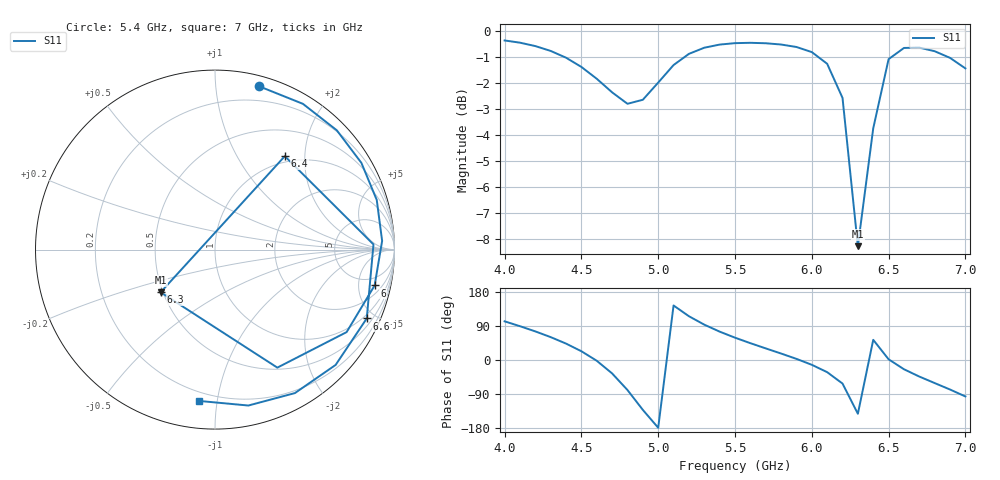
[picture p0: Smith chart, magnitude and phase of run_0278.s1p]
! Touchstone file exported from HFSS 2024.2.0
!  File:  C:/Users/wsak9/Desktop/Sim Fast/Widenad Patch/WP_AI_V1_sweep.aedt
!  Generated:  02:43:23 AM Oct 14, 2026
!  Design:  A1_model
!  Project:  WP_AI_V1_sweep
!  Setup:  Setup1
!  Solution:  Sweep
! Variables:
!  Air_gap = 3.87mm
!  Curve_Amp1 = 2.67
!  Curve_len1 = 1
!  Curve_pos = 9.675mm
!  Extra = 7.87mm
!  H_sub = 0.79mm
!  L_Patch = 15.35mm
!  L_Patch1 = 18.84mm
!  Sx = 3.94mm
!  Sy = 1.44mm
!  WS = 0.31mm
!  W_Patch = 10.32mm
!  W_Patch1 = 10.97mm
!Data is not renormalized
# GHz S MA
! Terminal data exported
! Port[1] = 1
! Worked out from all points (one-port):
!   31 points, 4 GHz to 7 GHz, reference per port
!   lowest |S11| = -8.3 dB at 6.3 GHz (marker M1), VSWR 2.25
!   |S11| at or under -10 dB: nowhere
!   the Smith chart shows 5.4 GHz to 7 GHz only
!   S11 on the Smith chart (normalised r, x): 5.4 GHz: 0.08, +1.30; 6 GHz: 3.24, -7.66; 6.3 GHz: 0.49, -0.27; 6.4 GHz: 0.90, +1.62; 6.6 GHz: 0.81, -4.49; 7 GHz: 0.15, -0.89
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4  0.9599 102.0
4.2  0.9362 75.5
4.3  0.9162 60.4
4.4  0.8891 43.3
4.5  0.8533 23.1
4.6  0.8096 -2.0
4.7  0.7623 -35.5
4.8  0.7245 -79.3
4.9  0.7376 -131.7
5  0.7961 -178.8
5.1  0.8606 143.9
5.2  0.9044 115.5
5.3  0.9294 93.3
5.4  0.9424 74.9
5.5  0.9484 58.9
5.7  0.948 30.6
5.9  0.9324 3.0
6  0.9115 -12.7
6.1  0.8655 -32.1
6.2  0.7437 -62.2
6.3  0.385 -141.9
6.4  0.6498 53.2
6.5  0.8834 1.9
6.6  0.9284 -24.4
6.7  0.9298 -43.7
6.8  0.915 -60.9
6.9  0.8884 -77.9
7  0.8478 -96.2
